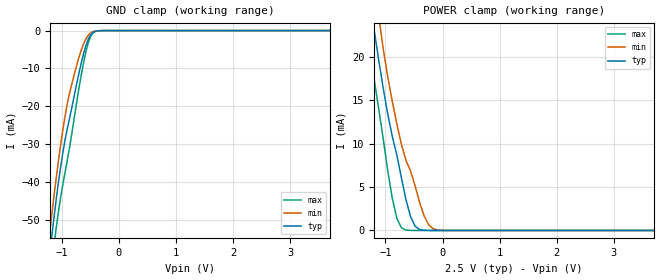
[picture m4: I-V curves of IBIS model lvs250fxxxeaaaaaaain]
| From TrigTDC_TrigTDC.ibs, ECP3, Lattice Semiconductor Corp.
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[Model]   lvs250fxxxeaaaaaaain
Model_type   Input
Polarity   Non-Inverting
Enable   Active-Low
Vinl =   1.1500V
Vinh =   1.3500V
C_comp   2.7pF   2.2pF   3.2pF
[Temperature Range]   25.0000   0.1050k   -40.0000
[Voltage Range]   2.5000V   2.3800V   2.6300V
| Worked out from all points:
|   GND clamp passes 1 mA (typ) near -0.48 V on its own axis
|   POWER clamp passes 1 mA (typ) near -0.52 V on its own axis
[GND_clamp]
|Voltage   I(typ)   I(min)   I(max)
-2.5V     -568.6mA   -547.1mA   -588.5mA
-1.22V    -60.54mA   -54.72mA   -68.21mA
-1.18V    -55.2mA    -49.48mA   -62.76mA
-1.14V    -50.04mA   -44.39mA   -57.56mA
-1.1V     -45.12mA   -39.48mA   -52.69mA
-980mV    -32.3mA    -26.24mA   -40.67mA
-860mV    -23.02mA   -16.41mA   -30.71mA
-620mV    -6.287mA   -3.641mA   -8.712mA
-540mV    -2.491mA   -1.319mA   -3.479mA
-460mV    -573.6uA   -307.8uA   -753.4uA
-220mV    -1.025uA   -813nA     -2.371uA
5V        0A         0A         0A
[POWER_clamp]
|Voltage   I(typ)   I(min)   I(max)
-2.48V    124.9mA    102.5mA    134.5mA
-1.36V    32.3mA     38.16mA    25.39mA
-1.28V    27.24mA    33.51mA    21.29mA
-1.2V     23.23mA    29.02mA    17.5mA
-1.12V    19.71mA    24.79mA    14.1mA
-880mV    10.84mA    14.86mA    3.692mA
-800mV    8.686mA    12.25mA    1.4mA
-640mV    3.538mA    8.06mA     47.54uA
-480mV    487.9uA    5.126mA    984.8nA
-320mV    20.48uA    1.632mA    42.33nA
-80mV     92.79nA    41.37uA    28.94nA
5V        -36.28nA   -54.82nA   -198.9nA
